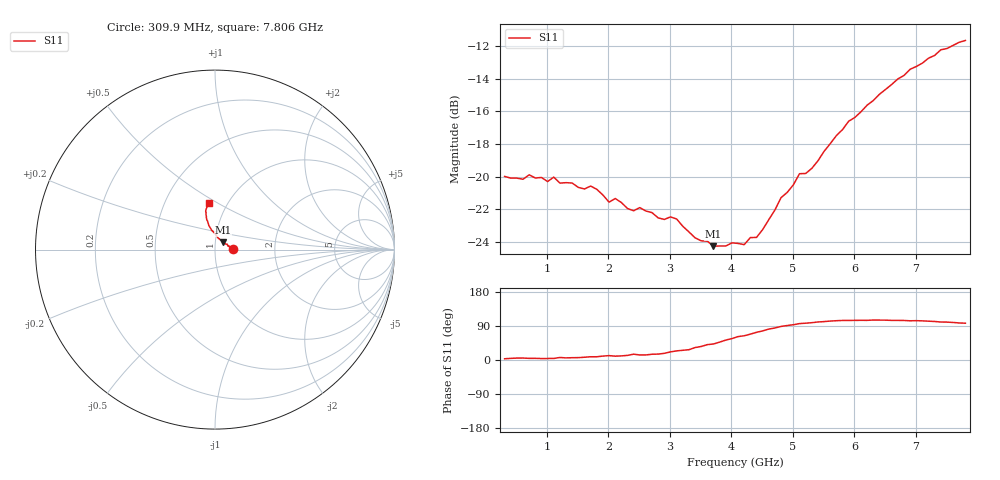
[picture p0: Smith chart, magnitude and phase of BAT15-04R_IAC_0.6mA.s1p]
! Infineon Technologies  Discrete & RF Semiconductors
! BAT15-04R
! IAC = 0.6 mA
! One-Port S-Parameters
# Hz  S  MA  R  50
!f  S11
!Hz  Mag  Ang
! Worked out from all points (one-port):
!   76 points, 309.9 MHz to 7.806 GHz, reference 50 ohm
!   lowest |S11| = -24.3 dB at 3.708 GHz (marker M1), VSWR 1.13, Z = 54.6 + j4.5 ohm
!   |S11| at or under -10 dB: start of sweep to end of sweep
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3.0985e8  0.1001 3.3
6.097e8  0.09813 5.2
7.0965e8  0.1013 4.3
1.0095e9  0.09656 4.0
1.10945e9  0.09962 4.1
1.30935e9  0.09579 5.5
1.6092e9  0.09162 7.3
1.70915e9  0.09352 8.5
2.009e9  0.08348 11.5
2.10895e9  0.08564 10.1
2.2089e9  0.0833 10.8
2.4088e9  0.07856 15.4
2.50875e9  0.08034 13.3
2.8086e9  0.07468 15.6
3.10845e9  0.07413 24.1
3.2084e9  0.07043 25.6
3.4083e9  0.06491 32.8
3.70815e9  0.06119 42.2
4.10795e9  0.06239 61.8
4.4078e9  0.06508 73.0
4.8076e9  0.08619 88.6
5.0075e9  0.09433 93.0
5.10745e9  0.102 96.1
5.30735e9  0.1059 98.4
5.70715e9  0.1335 103.7
6.007e9  0.1517 104.5
6.90655e9  0.2132 103.5
7.8061e9  0.2613 97.1
